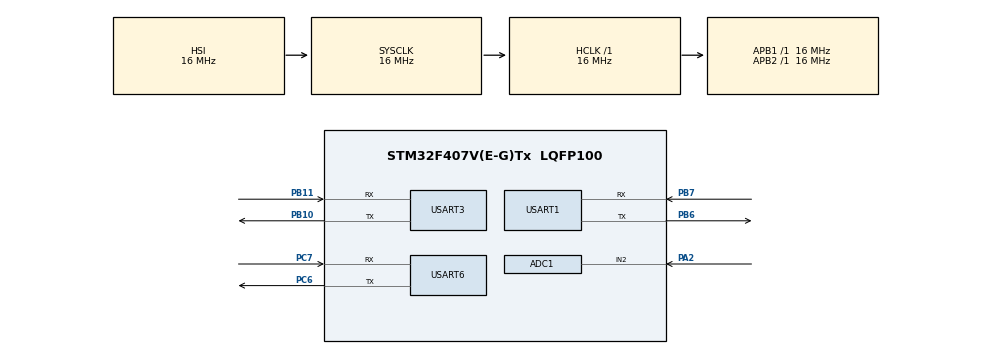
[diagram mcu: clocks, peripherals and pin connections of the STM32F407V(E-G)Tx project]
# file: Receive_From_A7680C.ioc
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ADC1.Channel-2\#ChannelRegularConversion=ADC_CHANNEL_2
ADC1.NbrOfConversionFlag=1
ADC1.Rank-2\#ChannelRegularConversion=1
ADC1.SamplingTime-2\#ChannelRegularConversion=ADC_SAMPLETIME_3CYCLES
ADC1.master=1
FREERTOS.Mutexes01=myMutex01,Dynamic,NULL
FREERTOS.Tasks01=defaultTask,0,128,StartDefaultTask,Default,NULL,Dynamic,NULL,NULL;myTask02,-3,128,StartTask02,Default,NULL,Dynamic,NULL,NULL;ReadADCSensor,0,128,StartReadADCTask,Default,NULL,Dynamic,NULL,NULL
Mcu.Family=STM32F4
Mcu.Name=STM32F407V(E-G)Tx
Mcu.Package=LQFP100
NVIC.ADC_IRQn=true\:5\:0\:false\:false\:true\:true\:true\:true\:true
NVIC.PriorityGroup=NVIC_PRIORITYGROUP_4
NVIC.TIM2_IRQn=true\:5\:0\:false\:false\:true\:true\:true\:true\:true
NVIC.TIM4_IRQn=true\:15\:0\:false\:false\:true\:false\:false\:true\:true
NVIC.TimeBase=TIM4_IRQn
NVIC.TimeBaseIP=TIM4
NVIC.USART1_IRQn=true\:10\:0\:true\:false\:true\:true\:true\:true\:true
NVIC.USART3_IRQn=true\:9\:0\:true\:false\:true\:true\:true\:true\:true
NVIC.USART6_IRQn=true\:5\:0\:false\:false\:true\:true\:true\:true\:true
PA13.Mode=Serial_Wire
PA13.Signal=SYS_JTMS-SWDIO
PA14.Mode=Serial_Wire
PA14.Signal=SYS_JTCK-SWCLK
PA2.Signal=ADCx_IN2
PB10.Mode=Asynchronous
PB10.Signal=USART3_TX
PB11.Mode=Asynchronous
PB11.Signal=USART3_RX
PB6.Mode=Asynchronous
PB6.Signal=USART1_TX
PB7.Mode=Asynchronous
PB7.Signal=USART1_RX
PC6.Mode=Asynchronous
PC6.Signal=USART6_TX
PC7.Mode=Asynchronous
PC7.Signal=USART6_RX
PH0-OSC_IN.Mode=HSE-External-Oscillator
PH0-OSC_IN.Signal=RCC_OSC_IN
PH1-OSC_OUT.Mode=HSE-External-Oscillator
PH1-OSC_OUT.Signal=RCC_OSC_OUT
ProjectManager.HeapSize=0x200
ProjectManager.StackSize=0x400
ProjectManager.TargetToolchain=MDK-ARM V5.32
RCC.AHBFreq_Value=16000000
RCC.APB1Freq_Value=16000000
RCC.APB2Freq_Value=16000000
RCC.CortexFreq_Value=16000000
RCC.HSE_VALUE=25000000
RCC.HSI_VALUE=16000000
RCC.LSE_VALUE=32768
RCC.SYSCLKFreq_VALUE=16000000
RCC.VCOOutputFreq_Value=192000000
SH.ADCx_IN2.0=ADC1_IN2,IN2
TIM2.Period=9999
TIM2.Prescaler=1599
USART1.VirtualMode=VM_ASYNC
USART3.VirtualMode=VM_ASYNC
USART6.VirtualMode=VM_ASYNC
VP_FREERTOS_VS_CMSIS_V1.Mode=CMSIS_V1
VP_SYS_VS_tim4.Mode=TIM4
VP_TIM2_VS_ClockSourceINT.Mode=Internal
board=custom

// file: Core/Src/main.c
/* USER CODE BEGIN Header */
/**
  ******************************************************************************
  * @file           : main.c
  * @brief          : Main program body
  ******************************************************************************
  * @attention
  *
  * Copyright (c) 2024 STMicroelectronics.
  * All rights reserved.
  *
  * This software is licensed under terms that can be found in the LICENSE file
  * in the root directory of this software component.
  * If no LICENSE file comes with this software, it is provided AS-IS.
  *
  ******************************************************************************
  */
/* USER CODE END Header */
#include "main.h"
#include "cmsis_os.h"

/* USER CODE BEGIN Includes */
#include "string.h"
#include "stdlib.h"
#include "uart.h"
#include "task_LTE.h"
#include "ReadADCSensor.h"
/* USER CODE END Includes */

/* USER CODE BEGIN PD */
#define MaxLengthReceiveUSART1 1024
#define LastFOTACommand 15
#define WaitingForRespondTimeout 10
/* USER CODE END PD */

ADC_HandleTypeDef hadc1;

TIM_HandleTypeDef htim2;

osThreadId defaultTaskHandle;
osThreadId myTask02Handle;
osThreadId ReadADCSensorHandle;
osMutexId myMutex01Handle;
/* USER CODE BEGIN PV */
/* Check command from sim variable */
osThreadId taskCheckSMSHandle;
/* RxData uart 1 buffer variables */
char RxDataUSART1[MaxLengthReceiveUSART1];
char RxDataChar[1];
volatile uint16_t RxDataIndex = 0;
/* RxData uart 6 buffer variables */
char RxDataUSART6[1024];
char RxDataCharSim[1];
volatile uint16_t RxDataIndexSim = 0;
/* Flag check if uart 6 received completed respond or not */
int isReceivedRespond = 0;
/* Flag check if in FOTA mode or not */
int FOTAFlag = 0;
/* Flag to make the received command from sim different from FOTA process */
int SMSCommandFlag = 1;
/* Flag check if command is sent to SIM or not */
volatile int sentToSimFlag = 0;
/* Command index */
volatile int FOTACommandIndex = 0;
/* Time out variable for FOTA */
volatile int SimRespondTimeout = 0;
/* Flag check if the Firmware is downloaded or not */
int writeToFlash = 0;
/* Start page of where to write firmware */
int beginLine = 0;

/* USER CODE END PV */

void SystemClock_Config(void);
static void MX_GPIO_Init(void);
static void MX_TIM2_Init(void);
static void MX_ADC1_Init(void);
void StartDefaultTask(void const * argument);
void StartTask02(void const * argument);
void StartReadADCTask(void const * argument);

/* USER CODE BEGIN PFP */
void TaskCheckCommandFromUser(void const * argument);
void printDebug(char *debugText);
void erase_flash_sector(uint32_t sector_number);
void HAL_UART_TxCpltCallback(UART_HandleTypeDef *huart);
void changeSettingBeforeReset();
float get_turbidity();
uint32_t Read_ADC_Value(void);
/* USER CODE END PFP */

int main(void)
{
  /* USER CODE BEGIN 1 */
  /* Change vector offset table to the start of the firmware */
  SCB->VTOR = (uint32_t)0x08060000;
	__enable_irq();
  /* USER CODE END 1 */

  /* MCU Configuration--------------------------------------------------------*/

  /* Reset of all peripherals, Initializes the Flash interface and the Systick. */
  HAL_Init();

  /* Configure the system clock */
  SystemClock_Config();

  /* Initialize all configured peripherals */
  MX_GPIO_Init();
  MX_TIM2_Init();
  MX_USART1_UART_Init();
  MX_USART6_UART_Init();
  MX_USART3_UART_Init();
  MX_ADC1_Init();
  /* USER CODE BEGIN 2 */
  printDebug("Firmware version 0.1.1\r\n");
  printDebug("Sensor box start \r\n");
  HAL_UART_Receive_IT(&huart6, (uint8_t*)RxDataChar, 1);
  HAL_UART_Receive_IT(&huart3, (uint8_t*)RxDataCharSim, 1);
  /* USER CODE END 2 */

  /* Create the mutex(es) */
  /* definition and creation of myMutex01 */
  osMutexDef(myMutex01);
  myMutex01Handle = osMutexCreate(osMutex(myMutex01));

  /* Create the thread(s) */
  /* definition and creation of defaultTask */
  osThreadDef(defaultTask, StartDefaultTask, osPriorityNormal, 0, 128);
  defaultTaskHandle = osThreadCreate(osThread(defaultTask), NULL);

  /* definition and creation of myTask02 */
  osThreadDef(myTask02, StartTask02, osPriorityIdle, 0, 128);
  myTask02Handle = osThreadCreate(osThread(myTask02), NULL);

  /* definition and creation of ReadADCSensor */
  osThreadDef(ReadADCSensor, StartReadADCTask, osPriorityNormal, 0, 128);
  ReadADCSensorHandle = osThreadCreate(osThread(ReadADCSensor), NULL);

  /* USER CODE BEGIN RTOS_THREADS */
  /* add threads, ... */

  osThreadDef(taskCheckSMS, TaskCheckCommandFromUser, osPriorityIdle, 0, 128);
  taskCheckSMSHandle = osThreadCreate(osThread(taskCheckSMS), NULL);

  /* USER CODE END RTOS_THREADS */

  /* Start scheduler */
  osKernelStart();
  /* We should never get here as control is now taken by the scheduler */
  /* Infinite loop */
  while (1)
  {

  }
}

void SystemClock_Config(void)
{
  RCC_OscInitTypeDef RCC_OscInitStruct = {0};
  RCC_ClkInitTypeDef RCC_ClkInitStruct = {0};

  /** Configure the main internal regulator output voltage
  */
  __HAL_RCC_PWR_CLK_ENABLE();
  __HAL_PWR_VOLTAGESCALING_CONFIG(PWR_REGULATOR_VOLTAGE_SCALE1);

  /** Initializes the RCC Oscillators according to the specified parameters
  * in the RCC_OscInitTypeDef structure.
  */
  RCC_OscInitStruct.OscillatorType = RCC_OSCILLATORTYPE_HSI;
  RCC_OscInitStruct.HSIState = RCC_HSI_ON;
  RCC_OscInitStruct.HSICalibrationValue = RCC_HSICALIBRATION_DEFAULT;
  RCC_OscInitStruct.PLL.PLLState = RCC_PLL_NONE;
  if (HAL_RCC_OscConfig(&RCC_OscInitStruct) != HAL_OK)
  {
    Error_Handler();
  }

  /** Initializes the CPU, AHB and APB buses clocks
  */
  RCC_ClkInitStruct.ClockType = RCC_CLOCKTYPE_HCLK|RCC_CLOCKTYPE_SYSCLK
                              |RCC_CLOCKTYPE_PCLK1|RCC_CLOCKTYPE_PCLK2;
  RCC_ClkInitStruct.SYSCLKSource = RCC_SYSCLKSOURCE_HSI;
  RCC_ClkInitStruct.AHBCLKDivider = RCC_SYSCLK_DIV1;
  RCC_ClkInitStruct.APB1CLKDivider = RCC_HCLK_DIV1;
  RCC_ClkInitStruct.APB2CLKDivider = RCC_HCLK_DIV1;

  if (HAL_RCC_ClockConfig(&RCC_ClkInitStruct, FLASH_LATENCY_0) != HAL_OK)
  {
    Error_Handler();
  }
}

static void MX_ADC1_Init(void)
{

  ADC_ChannelConfTypeDef sConfig = {0};

  /** Configure the global features of the ADC (Clock, Resolution, Data Alignment and number of conversion)
  */
  hadc1.Instance = ADC1;
  hadc1.Init.ClockPrescaler = ADC_CLOCK_SYNC_PCLK_DIV2;
  hadc1.Init.Resolution = ADC_RESOLUTION_12B;
  hadc1.Init.ScanConvMode = DISABLE;
  hadc1.Init.ContinuousConvMode = DISABLE;
  hadc1.Init.DiscontinuousConvMode = DISABLE;
  hadc1.Init.ExternalTrigConvEdge = ADC_EXTERNALTRIGCONVEDGE_NONE;
  hadc1.Init.ExternalTrigConv = ADC_SOFTWARE_START;
  hadc1.Init.DataAlign = ADC_DATAALIGN_RIGHT;
  hadc1.Init.NbrOfConversion = 1;
  hadc1.Init.DMAContinuousRequests = DISABLE;
  hadc1.Init.EOCSelection = ADC_EOC_SINGLE_CONV;
  if (HAL_ADC_Init(&hadc1) != HAL_OK)
  {
    Error_Handler();
  }

  /** Configure for the selected ADC regular channel its corresponding rank in the sequencer and its sample time.
  */
  sConfig.Channel = ADC_CHANNEL_2;
  sConfig.Rank = 1;
  sConfig.SamplingTime = ADC_SAMPLETIME_3CYCLES;
  if (HAL_ADC_ConfigChannel(&hadc1, &sConfig) != HAL_OK)
  {
    Error_Handler();
  }

}

static void MX_TIM2_Init(void)
{

  TIM_ClockConfigTypeDef sClockSourceConfig = {0};
  TIM_MasterConfigTypeDef sMasterConfig = {0};

  htim2.Instance = TIM2;
  htim2.Init.Prescaler = 1599;
  htim2.Init.CounterMode = TIM_COUNTERMODE_UP;
  htim2.Init.Period = 9999;
  htim2.Init.ClockDivision = TIM_CLOCKDIVISION_DIV1;
  htim2.Init.AutoReloadPreload = TIM_AUTORELOAD_PRELOAD_DISABLE;
  if (HAL_TIM_Base_Init(&htim2) != HAL_OK)
  {
    Error_Handler();
  }
  sClockSourceConfig.ClockSource = TIM_CLOCKSOURCE_INTERNAL;
  if (HAL_TIM_ConfigClockSource(&htim2, &sClockSourceConfig) != HAL_OK)
  {
    Error_Handler();
  }
  sMasterConfig.MasterOutputTrigger = TIM_TRGO_RESET;
  sMasterConfig.MasterSlaveMode = TIM_MASTERSLAVEMODE_DISABLE;
  if (HAL_TIMEx_MasterConfigSynchronization(&htim2, &sMasterConfig) != HAL_OK)
  {
    Error_Handler();
  }

}

static void MX_GPIO_Init(void)
{

  /* GPIO Ports Clock Enable */
  __HAL_RCC_GPIOH_CLK_ENABLE();
  __HAL_RCC_GPIOA_CLK_ENABLE();
  __HAL_RCC_GPIOB_CLK_ENABLE();
  __HAL_RCC_GPIOC_CLK_ENABLE();

}

/* USER CODE BEGIN 4 */
void HAL_UART_RxCpltCallback(UART_HandleTypeDef *huart)
{
  if(huart->Instance == USART6)
 {
	 uint8_t RxLength = 0;
	 RxDataUSART6[RxDataIndex++] = RxDataChar[0];
    if (RxDataChar[0] == '\n')
    {
      RxLength = RxDataIndex - 1;
      if(RxDataUSART6[0] == 'F' && RxDataUSART6[1] == 'O' &&
        RxDataUSART6[2] == 'T' && RxDataUSART6[3] == 'A' && sentToSimFlag == 0)
      {
        printDebug("Enter FOTA mode\r\n");
        FOTAFlag = 1;
        writeToFlash = 0;
        SMSCommandFlag = 0;
        sendUserWarning();
      }
      RxDataIndex = 0;
      HAL_UART_Receive_IT(&huart6, (uint8_t*)RxDataChar, 1);
    }
    else
    {
      HAL_UART_Receive_IT(&huart6, (uint8_t*)RxDataChar, 1);
    }
 }
 else if(huart->Instance == USART3)
 {
	 uint8_t RxLength = 0;
	 RxDataUSART1[RxDataIndexSim++] = RxDataCharSim[0];
    HAL_UART_Receive_IT(&huart3, (uint8_t*)RxDataCharSim, 1);

   if(SMSCommandFlag == 0)
   {
     if(RxDataCharSim[0] == 'O')
     {
       isReceivedRespond = 1; // need replace this condition another time
     }
   }
 }
}

void HAL_UART_TxCpltCallback(UART_HandleTypeDef *huart)
{

}

void printDebug(char *debugText)
{
	HAL_UART_Transmit(&huart6,(uint8_t *)debugText,(uint16_t)strlen(debugText),100);
}

void erase_flash_sector(uint32_t sector_number)
{
    FLASH_EraseInitTypeDef erase_init;
    uint32_t sector_error = 0;

    // Fill erase structure
    erase_init.TypeErase = FLASH_TYPEERASE_SECTORS;
    erase_init.Sector = sector_number;
    erase_init.NbSectors = 1;
    erase_init.VoltageRange = FLASH_VOLTAGE_RANGE_3;

    HAL_FLASH_Unlock();
    __HAL_FLASH_CLEAR_FLAG(FLASH_FLAG_EOP | FLASH_FLAG_OPERR | FLASH_FLAG_WRPERR |
                           FLASH_FLAG_PGAERR | FLASH_FLAG_PGPERR | FLASH_FLAG_PGSERR);
    HAL_FLASHEx_Erase(&erase_init, &sector_error);
    HAL_FLASH_Lock();
}

void changeSettingBeforeReset()
{
  uint8_t readConfig = *(uint8_t*)CONFIG_START_ADDRESS;
  if(readConfig == '5')
  {
    erase_flash_sector(FLASH_SECTOR_2);
    HAL_FLASH_Unlock();
    __HAL_FLASH_CLEAR_FLAG(FLASH_FLAG_EOP | FLASH_FLAG_OPERR | FLASH_FLAG_WRPERR |
                             FLASH_FLAG_PGAERR | FLASH_FLAG_PGPERR | FLASH_FLAG_PGSERR);
    // Config save in sector 3
    HAL_FLASH_Program(FLASH_TYPEPROGRAM_BYTE, (StartPageOfConfig*1024), '7');
    HAL_FLASH_Lock();
  }
  else if (readConfig == '7')
  {
    erase_flash_sector(FLASH_SECTOR_2);
    HAL_FLASH_Unlock();
    __HAL_FLASH_CLEAR_FLAG(FLASH_FLAG_EOP | FLASH_FLAG_OPERR | FLASH_FLAG_WRPERR |
                             FLASH_FLAG_PGAERR | FLASH_FLAG_PGPERR | FLASH_FLAG_PGSERR);
    // Config save in sector 3
    HAL_FLASH_Program(FLASH_TYPEPROGRAM_BYTE, (StartPageOfConfig*1024), '5');
    HAL_FLASH_Lock();
  }

}

void TaskCheckCommandFromUser(void const * argument)
{
  char expectRespond1[] = "+CMTI: \"SM\"";
  char expectRespond2[] = "FOTA";
  char expectedPhoneNumber[] = PhoneNumber;
  for(;;)
  {
    if(SMSCommandFlag == 1)
    {
      if(strstr(RxDataUSART1, expectRespond1) != NULL)
      {
        printDebug("Checking new received SMS\r\n");
        deleteBuffer(RxDataUSART1);
        RxDataIndexSim = 0;
        SendCommandToSim("AT+CMGL=\"ALL\"");
        osDelay(2000);
        if(strstr(RxDataUSART1, expectRespond2) != NULL)
        {
          if(strstr(RxDataUSART1, expectedPhoneNumber) != NULL)
          {
            SendCommandToSim("AT+CMGD=1,1");
            osDelay(500);
            deleteBuffer(RxDataUSART1);
            RxDataIndexSim = 0;
            FOTAFlag = 1;
            writeToFlash = 0;
            SMSCommandFlag = 0;
          }
          else
          {

          }
        }
      }
    }
    osDelay(5000);
  }
}

float get_turbidity(){
		uint32_t adcValue = Read_ADC_Value();
		float voltage = Convert_ADC_To_Voltage(adcValue);
		float turbidity = Convert_Vol_To_Turbidity(voltage);
		return turbidity;
}

uint32_t Read_ADC_Value(void) {
    HAL_ADC_Start(&hadc1);
    HAL_ADC_PollForConversion(&hadc1, HAL_MAX_DELAY);
    uint32_t adcValue = HAL_ADC_GetValue(&hadc1);
    HAL_ADC_Stop(&hadc1);
    return adcValue;
}

/* USER CODE END 4 */

void StartDefaultTask(void const * argument)
{
  /* USER CODE BEGIN 5 */
  /* Infinite loop */
  for(;;)
  {
    if(SMSCommandFlag == 0)
    {
      if(FOTAFlag == 1 && sentToSimFlag == 0)
      {
        CheckSimConditionCommand(FOTACommandIndex);
        SimRespondTimeout = 0;
        sentToSimFlag = 1;
      }
      osDelay(1000);
      if(sentToSimFlag == 1)
      {
        SimRespondTimeout++;
        if(SimRespondTimeout == WaitingForRespondTimeout)
        {
          sentToSimFlag = 0;
          FOTACommandIndex = 0;
          FOTAFlag = 0;
          SimRespondTimeout = 0;
          printDebug("Time out\r\n");
          SMSCommandFlag = 1;
          if(writeToFlash == 0)
          {
            SendCommandToSim("AT+CFTPSLOGOUT");
            osDelay(1000);
            SendCommandToSim("AT+CFTPSSTOP");
          }
        }
      }
      if(isReceivedRespond == 1)
      {
        char expectRespond1[] = "OK";
        char expectRespond2[] = "ERROR";
        if(strstr(RxDataUSART1, expectRespond1) != NULL
          || strstr(RxDataUSART1, expectRespond2) != NULL)
        {
          printDebug(RxDataUSART1);
          if(writeToFlash == 0)
          {
            if(processRespond(RxDataUSART1, FOTACommandIndex) == 1)
            {
              deleteBuffer(RxDataUSART1);
              RxDataIndexSim = 0;
              isReceivedRespond = 0;
              sentToSimFlag = 0;
              FOTACommandIndex++;
              if(FOTACommandIndex == 5 ||FOTACommandIndex == 10 || FOTACommandIndex == 11)
              {
                printDebug("Waiting respond.\r\n"); // Wait 5s for log in and download
                osDelay(5000);
              }
              if(FOTACommandIndex == LastFOTACommand)
              {
                printDebug("Complete download firmware. Start writing to flash.\r\n");
                HAL_FLASH_Unlock();
                HAL_FLASH_Lock();
                uint8_t readConfig = *(uint8_t*)CONFIG_START_ADDRESS;
                if(readConfig == '5')
                {
                  erase_flash_sector(FLASH_SECTOR_7);
                  printDebug("Erase old flash done\r\n");
                  writeToFlash = 1;
                  FOTACommandIndex = 0;
                  FOTAFlag = 0;
                  setStartPage(StartPageOfFirmware2);
                  SIM_RequestFirmwareCommand(beginLine);
                }
                else if(readConfig == '7')
                {
                  erase_flash_sector(FLASH_SECTOR_5);
                  erase_flash_sector(FLASH_SECTOR_6);
                  printDebug("Erase old flash done\r\n");
                  writeToFlash = 1;
                  FOTACommandIndex = 0;
                  FOTAFlag = 0;
                  setStartPage(StartPage);
                  SIM_RequestFirmwareCommand(beginLine);
                }
                else
                {
                  SMSCommandFlag = 1;
                  printDebug("Error erase flash");
                  sendFailNotification();
                }
                HAL_FLASH_Unlock();
                HAL_FLASH_Lock();
              }
            }
            else
            {
              deleteBuffer(RxDataUSART1);
              RxDataIndexSim = 0;
              isReceivedRespond = 0;
              sentToSimFlag = 0;
              printDebug("Error\r\n");
              FOTAFlag = 0;
              FOTACommandIndex = 0;
              SMSCommandFlag = 1;
              SendCommandToSim("AT+CFTPSLOGOUT");
              osDelay(1000);
              SendCommandToSim("AT+CFTPSSTOP");
              sendFailNotification();
            }
          }
          else if(writeToFlash == 1)
          {
            int result = ProcessFirmwareReceived(RxDataUSART1);
            deleteBuffer(RxDataUSART1);
            RxDataIndexSim = 0;
            isReceivedRespond = 0;
            sentToSimFlag = 1;
            if(result == 1)
            {
              printDebug("Error during write data to flash.\r\n");
              writeToFlash = 0;
              beginLine = 0;
              SMSCommandFlag = 1;
              sendFailNotification();
              sentToSimFlag = 0;
            }
            else if(result == 2)
            {
              printDebug("Complete write to flash. Start restart device.\r\n");
              writeToFlash = 0;
              beginLine = 0;
              SMSCommandFlag = 1;
              sentToSimFlag = 0;
              changeSettingBeforeReset();
              sendSuccessNotification();
              NVIC_SystemReset();
            }
            else if(result == 0)
            {
              beginLine += 512;
              osDelay(500);
              SIM_RequestFirmwareCommand(beginLine);
              SimRespondTimeout = 0;
            }
            else if(result == 3)
            {
              osDelay(500);
              printDebug("Receive unwanted respond.\r\n");
              SIM_RequestFirmwareCommand(beginLine);
            }
          }
        }
      }
    }
    osDelay(10);
  }
  /* USER CODE END 5 */
}

void StartTask02(void const * argument)
{
  /* USER CODE BEGIN StartTask02 */
  /* Infinite loop */
  for(;;)
  {
    printDebug("Task 1.1\r\n");
    osDelay(10000);
  }
  /* USER CODE END StartTask02 */
}

void StartReadADCTask(void const * argument)
{
  /* USER CODE BEGIN StartReadADCTask */
  float turbidity = 0.0;
  char dynamicMess[50];
  /* Infinite loop */
  for(;;)
  {
    turbidity = get_turbidity();
    deleteBuffer(dynamicMess);
    sprintf(dynamicMess, "turbidity : %f\r\n", turbidity);
    HAL_UART_Transmit(&huart6, (uint8_t *)dynamicMess, (uint16_t)strlen(dynamicMess), 1000);
    osDelay(5000);
  }
  /* USER CODE END StartReadADCTask */
}

void HAL_TIM_PeriodElapsedCallback(TIM_HandleTypeDef *htim)
{
  if (htim->Instance == TIM4) {
    HAL_IncTick();
  }
  /* USER CODE BEGIN Callback 1 */
  else if (htim->Instance == TIM2)
    {
        // Timeout occurred
        HAL_TIM_Base_Stop(&htim2);
        RxDataIndexSim = 0;
        // Handle timeout error here
        display("error\r\n");
    }
  /* USER CODE END Callback 1 */
}

void Error_Handler(void)
{
  __disable_irq();
  while (1)
  {
  }
}
